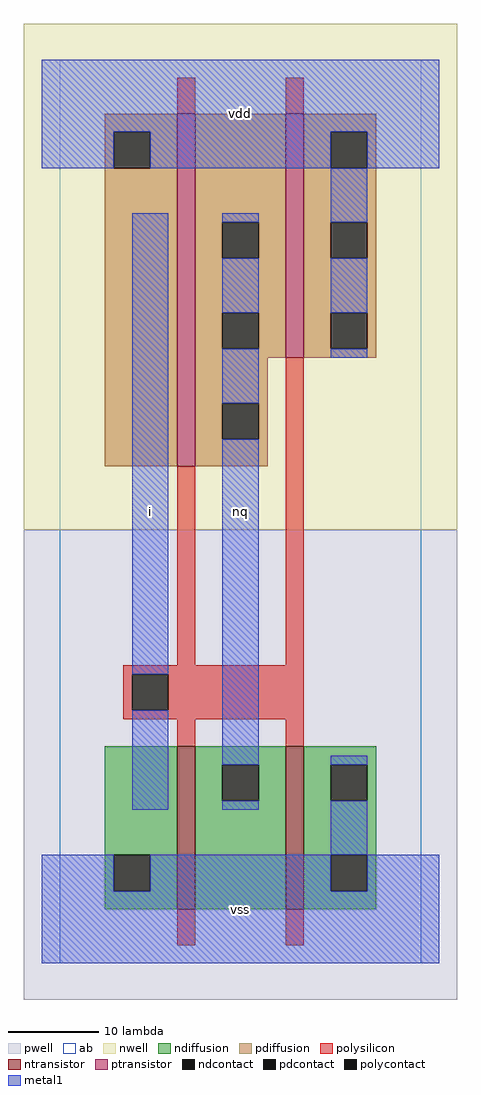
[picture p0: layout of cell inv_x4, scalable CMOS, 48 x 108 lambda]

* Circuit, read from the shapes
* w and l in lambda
.subckt inv_x4 i nq vdd vss
M1 nq i vss VSUBS nfet w=18 l=2 m=2
M2 nq i vdd n1 pfet w=39 l=2
M3 vdd i nq n1 pfet w=27 l=2
.ends

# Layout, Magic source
magic
tech scmos
<< ab >>
rect 0 0 40 100
<< pwell >>
rect -4 -4 44 48
<< nwell >>
rect -4 48 44 104
<< polysilicon >>
rect 13 94 15 98
rect 25 94 27 98
rect 13 33 15 55
rect 25 33 27 67
rect 7 32 27 33
rect 7 28 8 32
rect 12 28 27 32
rect 7 27 27 28
rect 13 24 15 27
rect 25 24 27 27
rect 13 2 15 6
rect 25 2 27 6
<< ndiffusion >>
rect 5 12 13 24
rect 5 8 6 12
rect 10 8 13 12
rect 5 6 13 8
rect 15 22 25 24
rect 15 18 18 22
rect 22 18 25 22
rect 15 6 25 18
rect 27 22 35 24
rect 27 18 30 22
rect 34 18 35 22
rect 27 12 35 18
rect 27 8 30 12
rect 34 8 35 12
rect 27 6 35 8
<< pdiffusion >>
rect 5 92 13 94
rect 5 88 6 92
rect 10 88 13 92
rect 5 55 13 88
rect 15 82 25 94
rect 15 78 18 82
rect 22 78 25 82
rect 15 72 25 78
rect 15 68 18 72
rect 22 68 25 72
rect 15 67 25 68
rect 27 92 35 94
rect 27 88 30 92
rect 34 88 35 92
rect 27 82 35 88
rect 27 78 30 82
rect 34 78 35 82
rect 27 72 35 78
rect 27 68 30 72
rect 34 68 35 72
rect 27 67 35 68
rect 15 62 23 67
rect 15 58 18 62
rect 22 58 23 62
rect 15 55 23 58
<< metal1 >>
rect -2 92 42 100
rect -2 88 6 92
rect 10 88 30 92
rect 34 88 42 92
rect 8 32 12 83
rect 8 17 12 28
rect 18 82 22 83
rect 18 72 22 78
rect 18 62 22 68
rect 30 82 34 88
rect 30 72 34 78
rect 30 67 34 68
rect 18 22 22 58
rect 18 17 22 18
rect 30 22 34 23
rect 30 12 34 18
rect -2 8 6 12
rect 10 8 30 12
rect 34 8 42 12
rect -2 0 42 8
<< ntransistor >>
rect 13 6 15 24
rect 25 6 27 24
<< ptransistor >>
rect 13 55 15 94
rect 25 67 27 94
<< polycontact >>
rect 8 28 12 32
<< ndcontact >>
rect 6 8 10 12
rect 18 18 22 22
rect 30 18 34 22
rect 30 8 34 12
<< pdcontact >>
rect 6 88 10 92
rect 18 78 22 82
rect 18 68 22 72
rect 30 88 34 92
rect 30 78 34 82
rect 30 68 34 72
rect 18 58 22 62
<< labels >>
rlabel metal1 10 50 10 50 6 i
rlabel metal1 20 6 20 6 6 vss
rlabel metal1 20 50 20 50 6 nq
rlabel metal1 20 94 20 94 6 vdd
<< end >>
